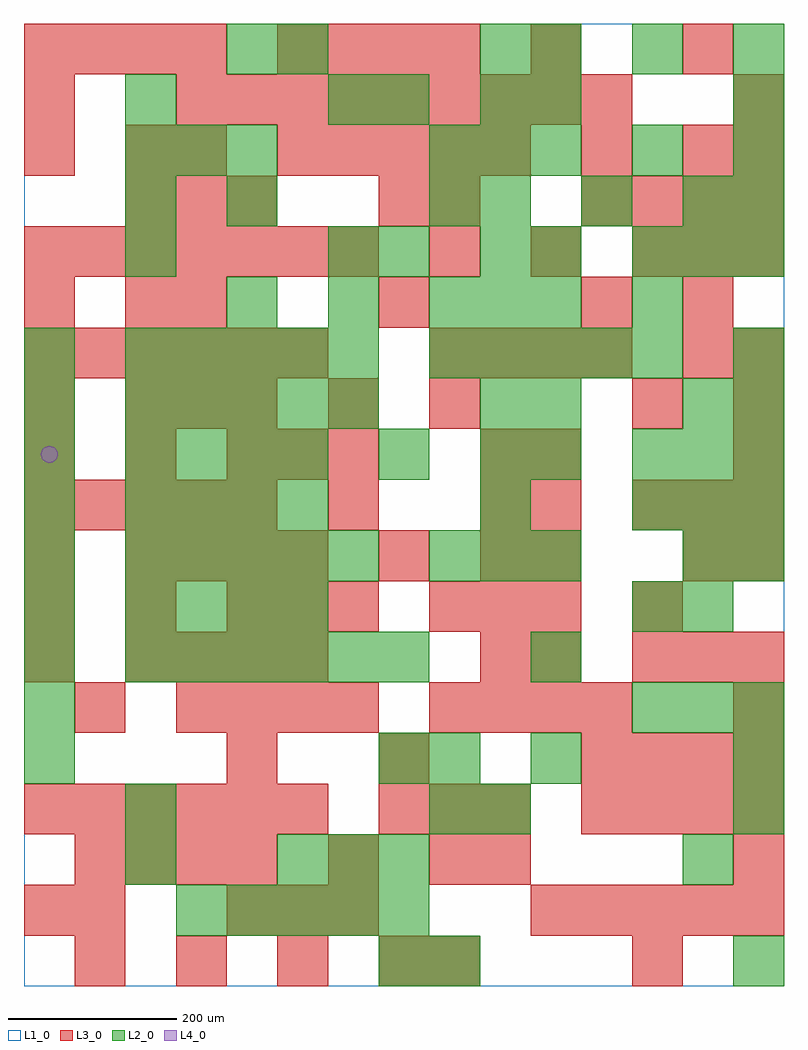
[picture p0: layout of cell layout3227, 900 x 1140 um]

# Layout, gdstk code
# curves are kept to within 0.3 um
import gdstk
lib = gdstk.Library(unit=1e-6, precision=1e-09)
def R(c, l, rs):  # rectangles x0, y0, x1, y1
    for r in rs: c.add(gdstk.rectangle(r[:2], r[2:], *l))
def A(c, l, x, y, w, h, nx, ny, dx, dy):  # array of equal rectangles
    R(c, l, [(x+i*dx, y+j*dy, x+i*dx+w, y+j*dy+h) for i in range(nx) for j in range(ny)])
def P(c, l, *ps):  # polygons
    for p in ps: c.add(gdstk.Polygon(p, *l))
L1_0 = (1, 0)
L2_0 = (2, 0)
L3_0 = (3, 0)
L4_0 = (4, 0)

layout3227 = lib.new_cell('layout3227')
R(layout3227, L1_0, [(0,0,900,1140)])
A(layout3227, L2_0, 180, 60, 60, 60, 5, 1, 60, 0)
A(layout3227, L2_0, 300, 120, 60, 60, 3, 1, 60, 0)
A(layout3227, L2_0, 0, 240, 60, 60, 1, 9, 0, 60)
A(layout3227, L2_0, 720, 300, 60, 60, 3, 2, 60, 240)
A(layout3227, L2_0, 120, 360, 60, 60, 6, 1, 60, 0)
A(layout3227, L2_0, 120, 420, 60, 60, 4, 2, 60, 120)
A(layout3227, L2_0, 120, 480, 60, 60, 5, 2, 60, 180)
A(layout3227, L2_0, 480, 480, 60, 60, 3, 2, 60, 480)
A(layout3227, L2_0, 540, 540, 60, 60, 1, 3, 0, 60)
A(layout3227, L2_0, 120, 600, 60, 60, 4, 1, 60, 0)
A(layout3227, L2_0, 720, 600, 60, 60, 3, 2, 60, 240)
A(layout3227, L2_0, 120, 720, 60, 60, 5, 1, 60, 0)
A(layout3227, L2_0, 480, 720, 60, 60, 5, 1, 60, 0)
A(layout3227, L2_0, 240, 780, 60, 60, 3, 1, 120, 0)
A(layout3227, L2_0, 540, 900, 60, 60, 3, 1, 120, 0)
A(layout3227, L2_0, 840, 900, 60, 60, 1, 3, 0, 60)
A(layout3227, L2_0, 120, 960, 60, 60, 3, 1, 60, 0)
A(layout3227, L2_0, 600, 1080, 60, 60, 3, 1, 120, 0)
R(layout3227, L2_0, [(420,0,480,60), (480,0,540,60), (840,0,900,60), (120,120,180,180), (780,120,840,180), (120,180,180,240), (480,180,540,240), (540,180,600,240), (840,180,900,240), (420,240,480,300), (480,240,540,300), (600,240,660,300), (840,240,900,300), (600,360,660,420), (720,420,780,480), (780,420,840,480), (780,480,840,540), (840,480,900,540), (420,600,480,660), (600,600,660,660), (600,660,660,720), (780,660,840,720), (840,660,900,720), (840,720,900,780), (540,780,600,840), (600,780,660,840), (720,780,780,840), (120,840,180,900), (360,840,420,900), (420,840,480,900), (540,840,600,900), (600,840,660,900), (120,900,180,960), (240,900,300,960), (480,900,540,960), (720,960,780,1020), (120,1020,180,1080), (360,1020,420,1080), (420,1020,480,1080), (540,1020,600,1080), (600,1020,660,1080), (240,1080,300,1140), (300,1080,360,1140), (540,1080,600,1140)])
A(layout3227, L3_0, 60, 0, 60, 60, 4, 1, 120, 0)
A(layout3227, L3_0, 240, 60, 60, 60, 3, 1, 60, 0)
A(layout3227, L3_0, 600, 60, 60, 60, 5, 1, 60, 0)
A(layout3227, L3_0, 60, 120, 60, 60, 4, 1, 60, 0)
A(layout3227, L3_0, 840, 120, 60, 60, 1, 3, 0, 180)
A(layout3227, L3_0, 0, 180, 60, 60, 6, 2, 60, 540)
A(layout3227, L3_0, 420, 180, 60, 60, 3, 1, 60, 0)
A(layout3227, L3_0, 660, 180, 60, 60, 4, 2, 60, 60)
A(layout3227, L3_0, 180, 300, 60, 60, 4, 1, 60, 0)
A(layout3227, L3_0, 480, 300, 60, 60, 4, 2, 60, 420)
A(layout3227, L3_0, 120, 360, 60, 60, 4, 2, 60, 120)
A(layout3227, L3_0, 720, 360, 60, 60, 3, 2, 60, 180)
A(layout3227, L3_0, 0, 420, 60, 60, 3, 2, 120, 180)
A(layout3227, L3_0, 480, 420, 60, 60, 3, 1, 60, 0)
A(layout3227, L3_0, 540, 480, 60, 60, 1, 3, 0, 60)
A(layout3227, L3_0, 600, 480, 60, 60, 1, 3, 0, 60)
A(layout3227, L3_0, 0, 540, 60, 60, 5, 1, 60, 0)
A(layout3227, L3_0, 360, 540, 60, 60, 1, 3, 0, 60)
A(layout3227, L3_0, 840, 600, 60, 60, 1, 3, 0, 60)
A(layout3227, L3_0, 120, 660, 60, 60, 3, 2, 60, 240)
A(layout3227, L3_0, 780, 720, 60, 60, 1, 3, 0, 60)
A(layout3227, L3_0, 180, 780, 60, 60, 3, 1, 240, 0)
A(layout3227, L3_0, 0, 840, 60, 60, 7, 1, 60, 0)
A(layout3227, L3_0, 480, 840, 60, 60, 3, 1, 120, 0)
A(layout3227, L3_0, 660, 900, 60, 60, 4, 1, 60, 0)
A(layout3227, L3_0, 300, 960, 60, 60, 5, 1, 60, 0)
A(layout3227, L3_0, 180, 1020, 60, 60, 9, 1, 60, 0)
A(layout3227, L3_0, 0, 1080, 60, 60, 4, 1, 60, 0)
A(layout3227, L3_0, 300, 1080, 60, 60, 4, 1, 60, 0)
R(layout3227, L3_0, [(480,0,540,60), (720,0,780,60), (0,60,60,120), (60,60,120,120), (360,120,420,180), (480,120,540,180), (540,120,600,180), (240,240,300,300), (420,240,480,300), (60,300,120,360), (0,360,60,420), (540,360,600,420), (600,360,660,420), (300,420,360,480), (360,420,420,480), (720,420,780,480), (0,480,60,540), (420,480,480,540), (780,480,840,540), (300,600,360,660), (0,660,60,720), (480,660,540,720), (720,660,780,720), (0,780,60,840), (120,780,180,840), (840,840,900,900), (420,900,480,960), (480,900,540,960), (0,960,60,1020), (120,960,180,1020), (180,960,240,1020), (660,960,720,1020), (780,960,840,1020), (840,960,900,1020), (0,1020,60,1080), (840,1020,900,1080), (600,1080,660,1140), (780,1080,840,1140)])
P(layout3227, L4_0, [(40,630),(39.239,633.827),(37.071,637.071),(33.827,639.239),(30,640),(26.173,639.239),(22.929,637.071),(20.761,633.827),(20,630),(20.761,626.173),(22.929,622.929),(26.173,620.761),(30,620),(33.827,620.761),(37.071,622.929),(39.239,626.173)])

lib.write_gds('layout3227.gds')
